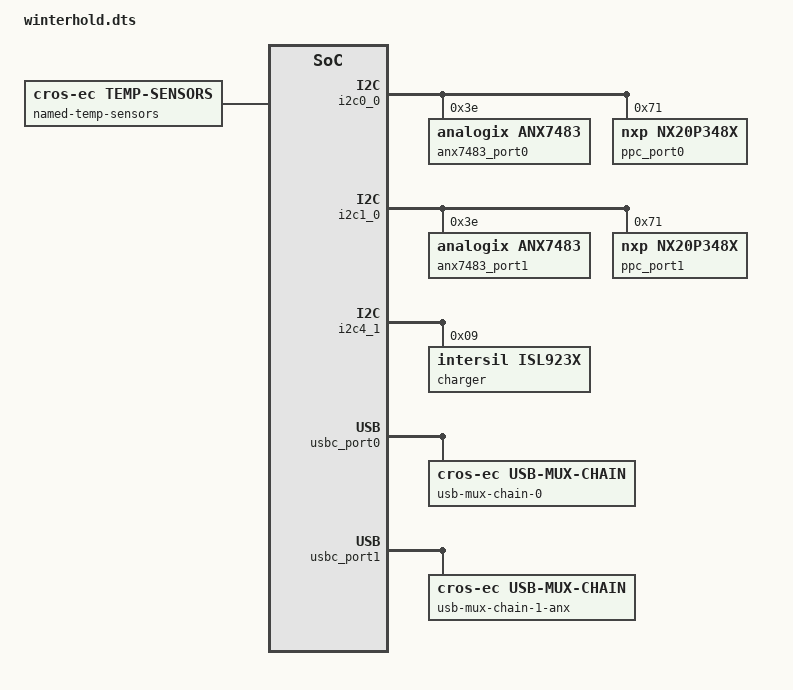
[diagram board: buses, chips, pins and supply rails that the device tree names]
/* Copyright 2021 The ChromiumOS Authors
 * Use of this source code is governed by a BSD-style license that can be
 * found in the LICENSE file.
 */

#include <dt-bindings/usbc_mux.h>

#include "i2c_common.dtsi"

/ {
	named-gpios {
		/* Winterhold-specific GPIO customizations */
	};

	named-temp-sensors {
		compatible = "cros-ec,temp-sensors";
		soc-pct2075 {
			temp_host_high = <105>;
			temp_host_halt = <110>;
			temp_host_release_high = <95>;
			temp_host_release_halt = <100>;
			power-good-pin = <&gpio_pg_pwr_s5>;
			sensor = <&soc_pct2075>;
		};
		amb-pct2075 {
			temp_host_warn = <50>;
			temp_host_high = <105>;
			temp_host_halt = <110>;
			temp_host_release_warn = <45>;
			temp_host_release_high = <95>;
			temp_host_release_halt = <100>;
			temp_fan_off = <35>;
			temp_fan_max = <40>;
			power-good-pin = <&gpio_pg_pwr_s5>;
			sensor = <&amb_pct2075>;
		};
	};

	/*
	 * Note this is expected to vary per-board, so we keep it in the board
	 * dts files.
	 */
	Winterhold-fw-config {
		compatible = "cros-ec,cbi-fw-config";

		/*
		 * FW_CONFIG field to enable KB back light or not.
		 */
		kb-bl {
			enum-name = "FW_KB_BL";
			start = <1>;
			size = <1>;

			no-kb-bl {
				compatible = "cros-ec,cbi-fw-config-value";
				enum-name = "FW_KB_BL_NOT_PRESENT";
				value = <0>;
			};
			kb-bl-present {
				compatible = "cros-ec,cbi-fw-config-value";
				enum-name = "FW_KB_BL_PRESENT";
				value = <1>;
			};
		};
	};

	/* Rotation matrices for motion sensors. */
	motionsense-rotation-ref {
		compatible = "cros-ec,motionsense-rotation-ref";
		lid_rot_ref: lid-rotation-ref {
			mat33 = <0 (-1) 0
				 1 0 0
				 0 0 1>;
		};

		base_rot_ref: base-rotation-ref {
			mat33 = <0 1 0
				 (-1) 0 0
				 0 0 1>;
		};
	};
};

&i2c0_0 {
	anx7483_port0: anx7483@3e {
		compatible = "analogix,anx7483";
		reg = <0x3e>;
		board-set = "board_anx7483_c0_mux_set";
		flags = <USB_MUX_FLAG_RESETS_IN_G3>;
	};
	ppc_port0: nx20p348x@71 {
		compatible = "nxp,nx20p348x";
		status = "okay";
		reg = <0x71>;
	};
};

&i2c1_0 {
	anx7483_port1: anx7483@3e {
		compatible = "analogix,anx7483";
		reg = <0x3e>;
		board-set = "board_anx7483_c1_mux_set";
		flags = <USB_MUX_FLAG_RESETS_IN_G3>;
	};
	ppc_port1: nx20p348x@71 {
		compatible = "nxp,nx20p348x";
		status = "okay";
		reg = <0x71>;
	};
};

&i2c4_1 {
	charger: isl9238@9 {
		compatible = "intersil,isl923x";
		status = "okay";
		reg = <0x9>;
	};
};

&usbc_port0 {
	ppc = <&ppc_port0>;
	usb-mux-chain-0 {
		compatible = "cros-ec,usb-mux-chain";
		usb-muxes = <&amd_fp6_port0 &anx7483_port0>;
	};
};

&usbc_port1 {
	ppc = <&ppc_port1>;
	usb-mux-chain-1-anx {
		compatible = "cros-ec,usb-mux-chain";
		usb-muxes = <&amd_fp6_port1 &anx7483_port1>;
	};
};

&fan0 {
	pwms = <&pwm0 0 PWM_KHZ(2) PWM_POLARITY_NORMAL>;
	rpm_min = <2100>;
	rpm_start = <2600>;
	rpm_max = <4800>;
};

&temp_sensor_charger {
	temp_host_high = <100>;
	temp_host_halt = <110>;
	temp_host_release_high = <90>;
	temp_host_release_halt = <100>;
};

&temp_sensor_memory {
	temp_host_high = <91>;
	temp_host_halt = <96>;
	temp_host_release_high = <81>;
	temp_host_release_halt = <86>;
};

&temp_sensor_cpu {
	/delete-property/ temp_host_high;
	/delete-property/ temp_host_halt;
	/delete-property/ temp_host_release_high;
	/delete-property/ temp_fan_off;
	/delete-property/ temp_fan_max;
};

/* Override handler */
&int_accel_gyro {
	handler = "base_accel_interrupt";
};
